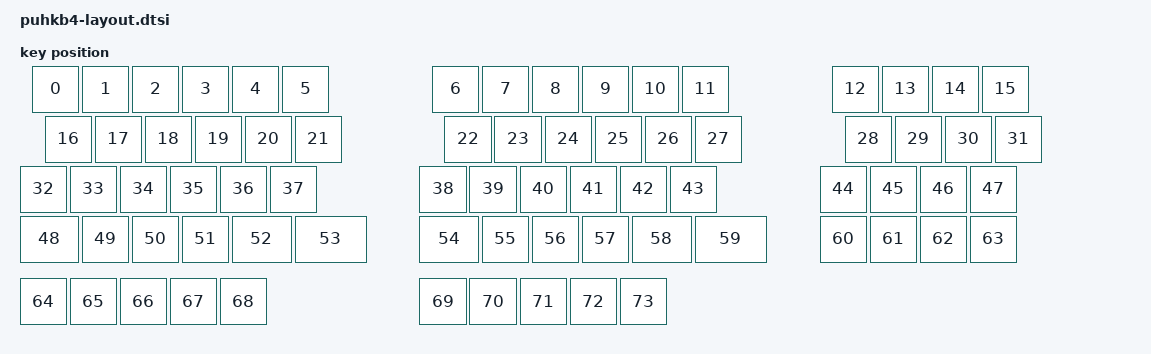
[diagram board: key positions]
#include <physical_layouts.dtsi>

/ {

	puhkb4_physical_layout: puhkb4_physical_layout {
		compatible = "zmk,physical-layout";
		display-name = "default";
		transform = <&default_transform>;
        kscan = <&kscan0>;

        keys  //                     w   h    x    y     rot    rx    ry
            = <&key_physical_attrs 100 100   25    0       0     0     0>
            , <&key_physical_attrs 100 100  125    0       0     0     0>
            , <&key_physical_attrs 100 100  225    0       0     0     0>
            , <&key_physical_attrs 100 100  325    0       0     0     0>
            , <&key_physical_attrs 100 100  425    0       0     0     0>
            , <&key_physical_attrs 100 100  525    0       0     0     0>
            , <&key_physical_attrs 100 100  825    0       0     0     0>
            , <&key_physical_attrs 100 100  925    0       0     0     0>
            , <&key_physical_attrs 100 100 1025    0       0     0     0>
            , <&key_physical_attrs 100 100 1125    0       0     0     0>
            , <&key_physical_attrs 100 100 1225    0       0     0     0>
            , <&key_physical_attrs 100 100 1325    0       0     0     0>
            , <&key_physical_attrs 100 100 1625    0       0     0     0>
            , <&key_physical_attrs 100 100 1725    0       0     0     0>
            , <&key_physical_attrs 100 100 1825    0       0     0     0>
            , <&key_physical_attrs 100 100 1925    0       0     0     0>
            , <&key_physical_attrs 100 100   50  100       0     0     0>
            , <&key_physical_attrs 100 100  150  100       0     0     0>
            , <&key_physical_attrs 100 100  250  100       0     0     0>
            , <&key_physical_attrs 100 100  350  100       0     0     0>
            , <&key_physical_attrs 100 100  450  100       0     0     0>
            , <&key_physical_attrs 100 100  550  100       0     0     0>
            , <&key_physical_attrs 100 100  850  100       0     0     0>
            , <&key_physical_attrs 100 100  950  100       0     0     0>
            , <&key_physical_attrs 100 100 1050  100       0     0     0>
            , <&key_physical_attrs 100 100 1150  100       0     0     0>
            , <&key_physical_attrs 100 100 1250  100       0     0     0>
            , <&key_physical_attrs 100 100 1350  100       0     0     0>
            , <&key_physical_attrs 100 100 1650  100       0     0     0>
            , <&key_physical_attrs 100 100 1750  100       0     0     0>
            , <&key_physical_attrs 100 100 1850  100       0     0     0>
            , <&key_physical_attrs 100 100 1950  100       0     0     0>
            , <&key_physical_attrs 100 100    0  200       0     0     0>
            , <&key_physical_attrs 100 100  100  200       0     0     0>
            , <&key_physical_attrs 100 100  200  200       0     0     0>
            , <&key_physical_attrs 100 100  300  200       0     0     0>
            , <&key_physical_attrs 100 100  400  200       0     0     0>
            , <&key_physical_attrs 100 100  500  200       0     0     0>
            , <&key_physical_attrs 100 100  800  200       0     0     0>
            , <&key_physical_attrs 100 100  900  200       0     0     0>
            , <&key_physical_attrs 100 100 1000  200       0     0     0>
            , <&key_physical_attrs 100 100 1100  200       0     0     0>
            , <&key_physical_attrs 100 100 1200  200       0     0     0>
            , <&key_physical_attrs 100 100 1300  200       0     0     0>
            , <&key_physical_attrs 100 100 1600  200       0     0     0>
            , <&key_physical_attrs 100 100 1700  200       0     0     0>
            , <&key_physical_attrs 100 100 1800  200       0     0     0>
            , <&key_physical_attrs 100 100 1900  200       0     0     0>
            , <&key_physical_attrs 125 100    0  300       0     0     0>
            , <&key_physical_attrs 100 100  125  300       0     0     0>
            , <&key_physical_attrs 100 100  225  300       0     0     0>
            , <&key_physical_attrs 100 100  325  300       0     0     0>
            , <&key_physical_attrs 125 100  425  300       0     0     0>
            , <&key_physical_attrs 150 100  550  300       0     0     0>
            , <&key_physical_attrs 125 100  800  300       0     0     0>
            , <&key_physical_attrs 100 100  925  300       0     0     0>
            , <&key_physical_attrs 100 100 1025  300       0     0     0>
            , <&key_physical_attrs 100 100 1125  300       0     0     0>
            , <&key_physical_attrs 125 100 1225  300       0     0     0>
            , <&key_physical_attrs 150 100 1350  300       0     0     0>
            , <&key_physical_attrs 100 100 1600  300       0     0     0>
            , <&key_physical_attrs 100 100 1700  300       0     0     0>
            , <&key_physical_attrs 100 100 1800  300       0     0     0>
            , <&key_physical_attrs 100 100 1900  300       0     0     0>
            , <&key_physical_attrs 100 100    0  425       0     0     0>
            , <&key_physical_attrs 100 100  100  425       0     0     0>
            , <&key_physical_attrs 100 100  200  425       0     0     0>
            , <&key_physical_attrs 100 100  300  425       0     0     0>
            , <&key_physical_attrs 100 100  400  425       0     0     0>
            , <&key_physical_attrs 100 100  800  425       0     0     0>
            , <&key_physical_attrs 100 100  900  425       0     0     0>
            , <&key_physical_attrs 100 100 1000  425       0     0     0>
            , <&key_physical_attrs 100 100 1100  425       0     0     0>
            , <&key_physical_attrs 100 100 1200  425       0     0     0>
            ;
    };
	
	position_map {
		compatible = "zmk,physical-layout-position-map";

		complete;
		default {
			physical-layout = <&puhkb4_physical_layout>;
			positions  
				= < 0  1  2  3  4  5  6  7  8  9 10 11 12 13 14 15>
				, <16 17 18 19 20 21 22 23 24 25 26 27 28 29 30 31>
				, <32 33 34 35 36 37 38 39 40 41 42 43 44 45 46 47>
				, <48 49 50 51 52 53 54 55 56 57 58 59 60 61 62 63>
				, <64 65 66 67 68 69 70 71 72 73>;
		};
	};
};
